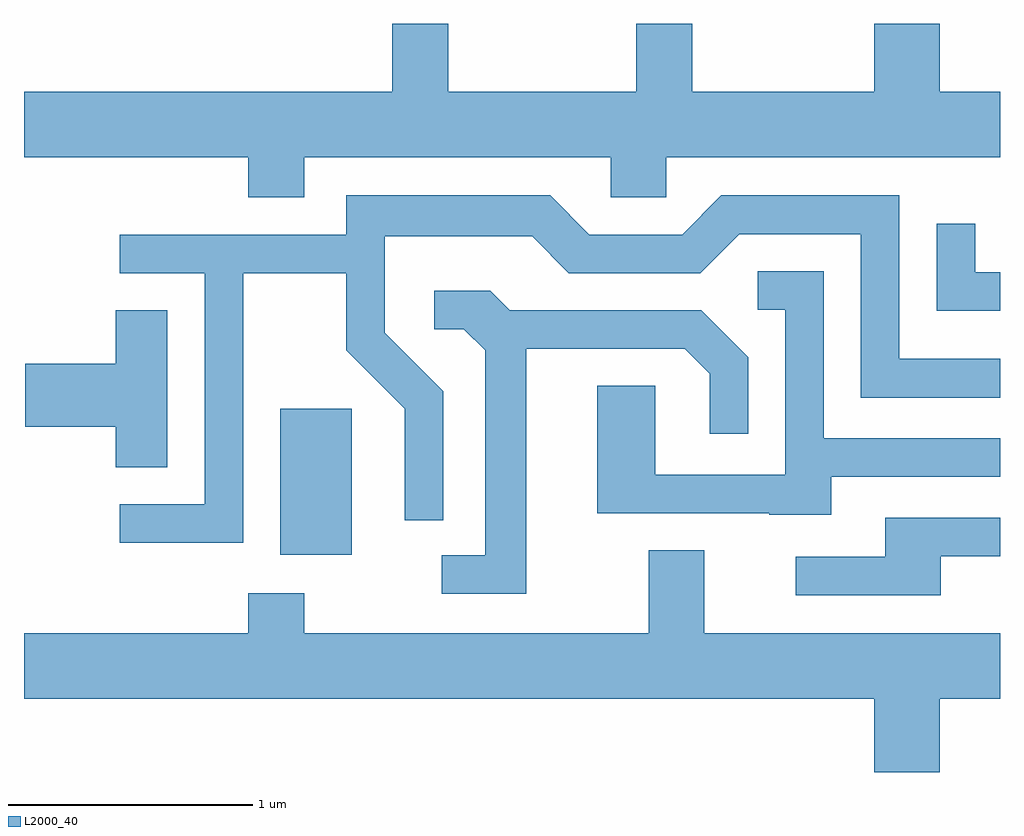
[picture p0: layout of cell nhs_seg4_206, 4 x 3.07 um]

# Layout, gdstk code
import gdstk
lib = gdstk.Library(unit=1e-6, precision=1e-09)
def R(c, l, rs):  # rectangles x0, y0, x1, y1
    for r in rs: c.add(gdstk.rectangle(r[:2], r[2:], *l))
def P(c, l, *ps):  # polygons
    for p in ps: c.add(gdstk.Polygon(p, *l))
L2000_40 = (2000, 40)

nhs_seg4_206 = lib.new_cell('nhs_seg4_206')
R(nhs_seg4_206, L2000_40, [(192.661,1259.806,192.954,1260.404)])
P(nhs_seg4_206, L2000_40, [(192.759,1261.436),(194.016,1261.436),(194.016,1261.271),(194.244,1261.271),(194.244,1261.436),(195.611,1261.436),(195.611,1261.704),(195.364,1261.704),(195.364,1261.982),(195.096,1261.982),(195.096,1261.704),(194.349,1261.704),(194.349,1261.982),(194.121,1261.982),(194.121,1261.704),(193.349,1261.704),(193.349,1261.982),(193.121,1261.982),(193.121,1261.704),(191.611,1261.704),(191.611,1261.436),(192.531,1261.436),(192.531,1261.271),(192.759,1261.271)],
  [(192.509,1260.961),(192.931,1260.961),(192.931,1260.644),(193.171,1260.404),(193.171,1259.948),(193.329,1259.948),(193.329,1260.477),(193.089,1260.717),(193.089,1261.111),(193.694,1261.111),(193.844,1260.961),(194.382,1260.961),(194.542,1261.121),(195.041,1261.121),(195.041,1260.451),(195.611,1260.451),(195.611,1260.609),(195.199,1260.609),(195.199,1261.279),(194.469,1261.279),(194.309,1261.119),(193.927,1261.119),(193.767,1261.279),(192.931,1261.279),(192.931,1261.119),(192.003,1261.119),(192.003,1260.961),(192.351,1260.961),(192.351,1260.014),(192.003,1260.014),(192.003,1259.856),(192.509,1259.856)],
  [(195.611,1260.964),(195.509,1260.964),(195.509,1261.163),(195.351,1261.163),(195.351,1260.806),(195.611,1260.806)],
  [(194.919,1260.126),(195.611,1260.126),(195.611,1260.284),(194.889,1260.284),(194.889,1260.969),(194.618,1260.969),(194.618,1260.811),(194.731,1260.811),(194.731,1260.134),(194.199,1260.134),(194.199,1260.499),(193.961,1260.499),(193.961,1259.976),(194.665,1259.976),(194.665,1259.971),(194.919,1259.971)],
  [(193.669,1260.651),(194.319,1260.651),(194.421,1260.549),(194.421,1260.303),(194.579,1260.303),(194.579,1260.617),(194.387,1260.809),(193.602,1260.809),(193.522,1260.889),(193.293,1260.889),(193.293,1260.731),(193.414,1260.731),(193.501,1260.644),(193.501,1259.804),(193.323,1259.804),(193.323,1259.646),(193.669,1259.646)],
  [(192.199,1260.809),(191.986,1260.809),(191.986,1260.589),(191.616,1260.589),(191.616,1260.331),(191.986,1260.331),(191.986,1260.166),(192.199,1260.166)],
  [(195.369,1259.801),(195.611,1259.801),(195.611,1259.959),(195.141,1259.959),(195.141,1259.799),(194.773,1259.799),(194.773,1259.641),(195.369,1259.641)],
  [(195.364,1259.216),(195.611,1259.216),(195.611,1259.484),(194.399,1259.484),(194.399,1259.824),(194.171,1259.824),(194.171,1259.484),(192.759,1259.484),(192.759,1259.649),(192.531,1259.649),(192.531,1259.484),(191.611,1259.484),(191.611,1259.216),(195.096,1259.216),(195.096,1258.916),(195.364,1258.916)])

lib.write_gds('nhs_seg4_206.gds')
